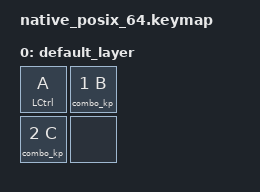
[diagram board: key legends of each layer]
#include <dt-bindings/zmk/keys.h>
#include <behaviors.dtsi>
#include <dt-bindings/zmk/kscan_mock.h>

&mt {
    flavor = "hold-preferred";
};

/*
This test fails if the order of event handlers for hold-taps
and combos is wrong. Hold-taps need to process key position events
first so the decision to hold or tap can be made.
*/
/ {
    combos {
        compatible = "zmk,combos";

        combo_two {
            timeout-ms = <100>;
            triggers = <1 2>;
            bindings = <&kp Y>;
        };
    };

    keymap {
        compatible = "zmk,keymap";

        default_layer {
            bindings = <
                &mt LEFT_CONTROL A &combo_kp 1 B
                &combo_kp 2 C &none
            >;
        };
    };
};

&kscan {
    events = <
        ZMK_MOCK_PRESS(0,0,10)
        ZMK_MOCK_PRESS(0,1,10)
        ZMK_MOCK_PRESS(0,2,10)
        ZMK_MOCK_RELEASE(0,0,10)
        ZMK_MOCK_RELEASE(0,1,10)
        ZMK_MOCK_RELEASE(0,2,10)
    >;
};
